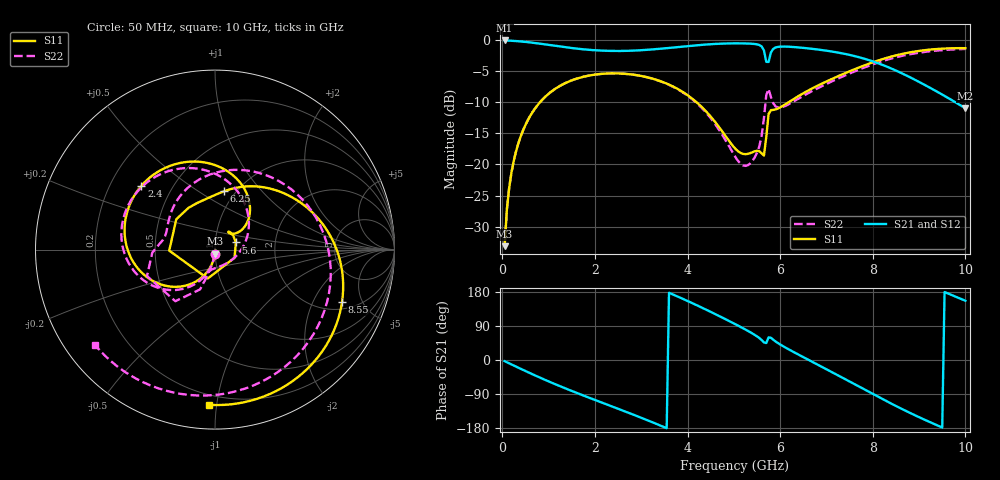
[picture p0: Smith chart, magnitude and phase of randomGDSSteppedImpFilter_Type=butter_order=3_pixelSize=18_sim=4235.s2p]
! freq	dB(S11)	phase(S11)	dB(S12)	phase(S12)
!  dB(S21)	phase(S21)	dB(S22)	phase(S22)
!S-par simulation data
#  GHz  S  DB  R 50
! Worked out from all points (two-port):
!   200 points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, 50 MHz to 10 GHz, reference 50 ohm
!   highest |S21| = 0.00 dB at 50 MHz (marker M1); lowest = -10.9 dB at 10 GHz (marker M2)
!   |S21| within 3 dB of the highest: start of sweep to 5.688 GHz; 5.765 GHz to 7.844 GHz (2.078 GHz wide, 30.5 % of centre)
!   lowest |S11| = -33.2 dB at 50 MHz (marker M3), VSWR 1.04, Z = 49.8 - j2.19 ohm
!   |S11| at or under -10 dB: start of sweep to 810.5 MHz; 4.201 GHz to 6.174 GHz (1.974 GHz wide, 38 % of centre)
!   |S22| runs from -33.2 to -1.4 dB; largest |S21 - S12| = 0
!   S11 on the Smith chart (normalised r, x): 50 MHz: 1.00, -0.04; 2.4 GHz: 0.33, +0.34; 5.6 GHz: 1.26, +0.10; 6.25 GHz: 0.89, +0.65; 8.55 GHz: 2.43, -3.42; 10 GHz: 0.14, -0.96
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0.05  -33.17 -93.1  -0.00 -3.0  -0.00 -3.0  -33.16 -92.8
0.2  -21.21 -102.8  -0.05 -11.8  -0.05 -11.8  -21.21 -101.6
0.5  -13.62 -121.1  -0.24 -29.1  -0.24 -29.1  -13.62 -118.3
1.1  -8.02 -155.3  -0.83 -61.7  -0.83 -61.7  -8.02 -149.1
1.75  -5.86 170.9  -1.43 -93.7  -1.43 -93.7  -5.86 -179.4
2.4  -5.31 139.1  -1.70 -124.0  -1.70 -124.0  -5.31 152.0
3.4  -6.53 90.3  -1.35 -172.3  -1.35 -172.3  -6.55 105.3
4.2  -9.99 52.3  -0.78 144.5  -0.78 144.5  -10.11 59.1
5.05  -17.58 41.9  -0.47 93.4  -0.47 93.4  -18.99 -28.1
5.35  -18.18 53.3  -0.52 73.6  -0.52 73.6  -19.86 -86.0
5.6  -18.20 19.0  -0.97 52.7  -0.97 52.7  -15.38 -107.6
5.7  -15.59 -104.0  -3.45 44.8  -3.45 44.8  -8.81 -127.5
5.75  -11.87 -178.7  -3.48 59.6  -3.48 59.6  -7.82 -158.7
5.85  -11.20 122.6  -1.37 53.6  -1.37 53.6  -10.12 174.5
6.25  -9.64 80.9  -1.04 23.7  -1.04 23.7  -10.01 142.1
6.7  -7.71 59.0  -1.36 -5.2  -1.36 -5.2  -8.12 106.3
7.45  -5.13 26.6  -2.25 -53.6  -2.25 -53.6  -5.49 42.9
7.95  -3.66 4.9  -3.25 -86.3  -3.25 -86.3  -3.99 -0.1
8.35  -2.71 -13.2  -4.37 -112.0  -4.37 -112.0  -3.02 -32.9
8.55  -2.32 -22.4  -5.02 -124.4  -5.02 -124.4  -2.63 -48.4
9.25  -1.47 -55.0  -7.69 -164.8  -7.69 -164.8  -1.74 -97.0
10  -1.25 -92.0  -10.93 156.4  -10.93 156.4  -1.37 -141.6
